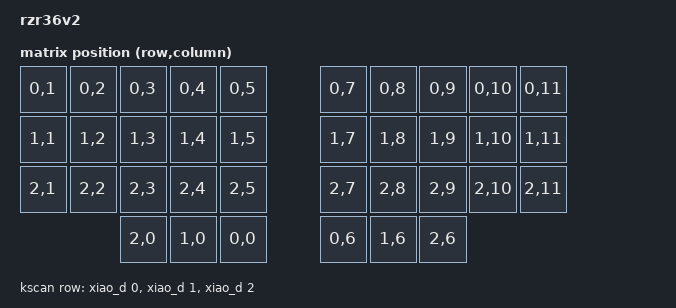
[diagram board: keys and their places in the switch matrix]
#include <dt-bindings/zmk/matrix_transform.h>


&xiao_serial { status = "disabled"; };


/ {

	model = "rzr36v2";
	compatible = "MReavley,rzr36v2";

	chosen {
		zmk,kscan = &kscan;
		zmk,matrix_transform = &transform;
	};

	transform: transform {
		compatible = "zmk,matrix-transform";
		columns = <12>;
		rows = <3>;
		
		map = <
RC(0,1) RC(0,2) RC(0,3) RC(0,4) RC(0,5)	  RC(0,7) RC(0,8) RC(0,9) RC(0,10) RC(0,11)
RC(1,1) RC(1,2) RC(1,3) RC(1,4) RC(1,5)	  RC(1,7) RC(1,8) RC(1,9) RC(1,10) RC(1,11)
RC(2,1) RC(2,2) RC(2,3) RC(2,4) RC(2,5)	  RC(2,7) RC(2,8) RC(2,9) RC(2,10) RC(2,11)
			    RC(2,0) RC(1,0) RC(0,0)	  RC(0,6) RC(1,6) RC(2,6)
		>;
	};

	kscan: kscan {
	  compatible = "zmk,kscan-gpio-matrix";
	  label = "KSCAN";
	  
	  debounce-press-ms = <1>;
	  debounce-release-ms = <5>;
	  
	  diode-direction = "col2row";
	  
		
	  row-gpios
		= <&xiao_d 0 (GPIO_ACTIVE_HIGH | GPIO_PULL_DOWN)>
		, <&xiao_d 1 (GPIO_ACTIVE_HIGH | GPIO_PULL_DOWN)>
		, <&xiao_d 2 (GPIO_ACTIVE_HIGH | GPIO_PULL_DOWN)>;
	};
	
};	

/*
*&gpio0 {
*	status = "okay";
*};
*
*&gpio1 {
*	status = "okay";
*};
*/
